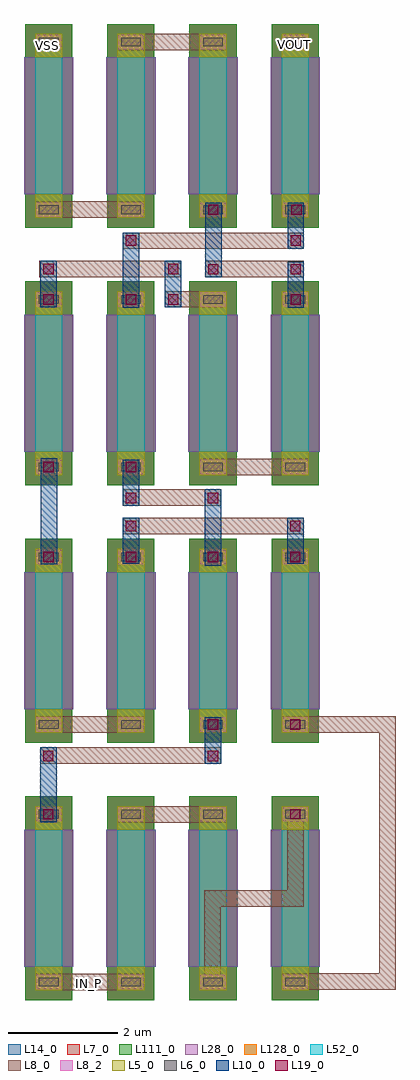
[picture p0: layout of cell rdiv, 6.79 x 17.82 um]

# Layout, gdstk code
from math import pi, radians
import gdstk
lib = gdstk.Library(unit=1e-6, precision=1e-09)
def R(c, l, rs):  # rectangles x0, y0, x1, y1
    for r in rs: c.add(gdstk.rectangle(r[:2], r[2:], *l))
L5_0 = (5, 0)
L6_0 = (6, 0)
L7_0 = (7, 0)
L8_0 = (8, 0)
L8_2 = (8, 2)
L10_0 = (10, 0)
L14_0 = (14, 0)
L19_0 = (19, 0)
L28_0 = (28, 0)
L52_0 = (52, 0)
L111_0 = (111, 0)
L128_0 = (128, 0)

rhigh = lib.new_cell('rhigh')
R(rhigh, L5_0, [(0,-0.43,0.5,0), (0,2.5,0.5,2.93)])
R(rhigh, L6_0, [(0.07,-0.36,0.43,-0.2), (0.07,2.7,0.43,2.86)])
R(rhigh, L7_0, [(-0.18,-0.61,0.68,0.18), (-0.18,0,0.68,2.5), (-0.18,0,0.68,2.5), (-0.18,2.32,0.68,3.11)])
R(rhigh, L8_0, [(0.02,-0.41,0.48,-0.15), (0.02,2.65,0.48,2.91)])
R(rhigh, L8_2, [(0.02,-0.41,0.48,-0.15), (0.02,-0.41,0.48,-0.15), (0.02,2.65,0.48,2.91), (0.02,2.65,0.48,2.91)])
R(rhigh, L14_0, [(-0.18,-0.61,0.68,0.18), (-0.18,0,0.68,2.5), (-0.18,0,0.68,2.5), (-0.18,2.32,0.68,3.11)])
R(rhigh, L28_0, [(-0.2,0,0.7,2.5)])
R(rhigh, L52_0, [(0,0,0.5,2.5)])
R(rhigh, L111_0, [(-0.18,-0.61,0.68,0.18), (-0.2,0,0.7,2.5), (-0.18,2.32,0.68,3.11)])
R(rhigh, L128_0, [(0,0,0.5,2.5)])
rhigh.add(gdstk.Label('rpnd r=7711.304', (0.25,1.25), layer=63, texttype=0))
rhigh.add(gdstk.Label('rhigh', (0.25,1.25), layer=52, texttype=0))

rdiv = lib.new_cell('rdiv')
R(rdiv, L8_0, [(14.024,3.798,16.024,4.098), (15.524,6.859,17.524,7.159), (14.117,7.932,17.426,8.232), (14.024,8.499,16.024,8.799), (15.627,12.12,18.928,12.42), (15.626,12.643,17.424,12.943), (17.024,13.199,19.024,13.499), (16.396,16.264,17.524,16.564), (14.1,16.818,16.696,17.118), (17.136,16.818,18.934,17.118), (15.625,17.332,18.934,17.632), (14.024,17.899,16.024,18.199), (15.524,20.959,17.524,21.259)])
R(rdiv, L10_0, [(14.117,6.86,14.417,8.232), (17.126,7.932,17.426,8.779), (17.124,11.549,17.424,12.943), (14.128,11.579,14.428,13.507), (15.627,11.58,15.927,12.42), (18.628,11.58,18.928,12.42), (15.626,12.643,15.926,13.479), (15.625,16.26,15.925,17.632), (18.634,16.261,18.934,17.1), (14.12,16.264,14.42,17.118), (16.396,16.264,16.696,17.118), (17.136,16.818,17.436,18.179), (18.634,17.332,18.934,18.179)])
R(rdiv, L19_0, [(14.17,6.915,14.36,7.105), (18.68,6.915,18.87,7.105), (14.17,7.981,14.36,8.171), (17.18,7.981,17.37,8.171), (18.68,8.552,18.87,8.742), (17.18,8.553,17.37,8.743), (17.18,11.613,17.37,11.803), (18.68,11.614,18.87,11.804), (14.176,11.615,14.366,11.805), (15.678,11.615,15.868,11.805), (15.678,12.178,15.868,12.368), (18.68,12.178,18.87,12.368), (15.679,12.693,15.869,12.883), (17.18,12.693,17.37,12.883), (15.679,13.252,15.869,13.442), (14.176,13.254,14.366,13.444), (16.453,16.311,16.643,16.501), (18.689,16.311,18.879,16.501), (14.176,16.312,14.366,16.502), (15.679,16.313,15.869,16.503), (17.183,16.866,17.373,17.056), (18.689,16.866,18.879,17.056), (14.176,16.873,14.366,17.063), (16.453,16.873,16.643,17.063), (15.679,17.388,15.869,17.578), (18.689,17.388,18.879,17.578), (17.183,17.952,17.373,18.142), (18.701,17.952,18.891,18.142)])
rdiv.add(gdstk.FlexPath([(17.266,3.819),(17.266,5.47),(18.778,5.47),(18.778,7.139)], 0.3, ends="flush", simple_path=True, layer=8, datatype=0))  # L8_0
rdiv.add(gdstk.FlexPath([(18.544,3.953),(20.463,3.953),(20.463,8.648),(18.544,8.648)], 0.3, ends="flush", simple_path=True, layer=8, datatype=0))  # L8_0
r = gdstk.Reference(rhigh, (19.024,20.829), rotation=pi); r.repetition = gdstk.Repetition(4, 4, v1=(-1.5,0), v2=(0,-4.7)); rdiv.add(r)
r = gdstk.Reference(rhigh, (19.024,20.829), rotation=pi); r.repetition = gdstk.Repetition(4, 4, v1=(-1.5,0), v2=(0,-4.7)); rdiv.add(r)
r = gdstk.Reference(rhigh, (19.024,20.829), rotation=pi); r.repetition = gdstk.Repetition(4, 4, v1=(-1.5,0), v2=(0,-4.7)); rdiv.add(r)
rdiv.add(gdstk.Label('VOUT', (18.765,21.058), layer=8, texttype=1))
rdiv.add(gdstk.Label('VSS', (14.257,21.048), layer=8, texttype=1))
rdiv.add(gdstk.Label('IN_P', (14.994,3.915), layer=8, texttype=1))

lib.write_gds('rdiv.gds')
